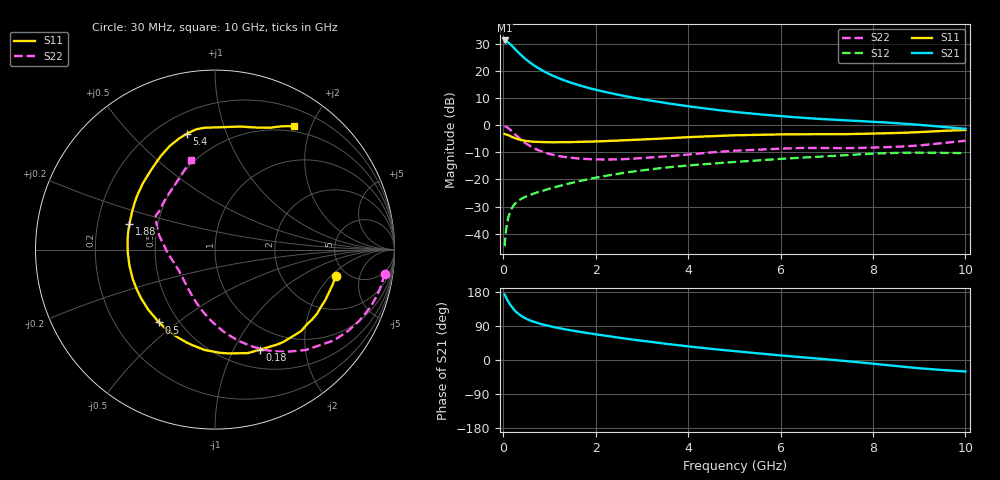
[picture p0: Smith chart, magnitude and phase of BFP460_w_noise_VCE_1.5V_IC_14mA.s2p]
! (c) 2016  Infineon Technologies AG, Munich
! Infineon Technologies  Discrete & RF Semiconductors
! BFP460
! VCE =  1.5 V,  IC =  14 mA
! Common Emitter S-Parameters:  Jan 2016
# GHz  S  MA  R  50
!  f  S11  S21  S12  S22
! GHz  MAG  ANG  MAG  ANG  MAG  ANG  MAG  ANG
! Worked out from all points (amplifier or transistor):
!   229 points, 30 MHz to 10 GHz, reference 50 ohm
!   highest |S21| = 31.2 dB at 30 MHz (marker M1)
!   |S21| within 3 dB of that: start of sweep to 246.7 MHz
!   unconditionally stable (mu >= 1): 2.074 GHz to 8.953 GHz
!   at 280 MHz: K = 0.34, MSG = 28.1 dB, |S12| = -28.5 dB
!   at 1.78 GHz: K = 0.97, MSG = 17.1 dB, |S12| = -20.1 dB
!   at 10 GHz: K = 0.99, MSG = 4.5 dB, |S12| = -10.3 dB
!   lowest NFmin = 1.09 dB at 450 MHz
!   S11 on the Smith chart (normalised r, x): 30 MHz: 4.10, -2.26; 180 MHz: 0.72, -1.28; 500 MHz: 0.39, -0.43; 1.88 GHz: 0.34, +0.13; 5.4 GHz: 0.32, +0.73; 10 GHz: 0.43, +1.75
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0.03  0.6875 -12.2  36.42 172.9  0.0059 85.9  0.9541 -8.1
0.05  0.679 -19.8  35.79 167.2  0.0096 81.0  0.9438 -13.6
0.07  0.671 -28.5  35.38 162.5  0.0132 77.3  0.9276 -18.9
0.11  0.6609 -43.1  33.44 154.1  0.0199 71.2  0.8819 -29.0
0.15  0.632 -56.9  31.19 146.0  0.0254 65.8  0.8266 -38.1
0.18  0.6109 -65.9  29.42 141.2  0.0287 62.4  0.7804 -43.8
0.2  0.6055 -72.1  28.36 137.6  0.031 60.5  0.7542 -47.9
0.24  0.5838 -82.4  26.13 132.0  0.0346 57.1  0.6984 -54.5
0.32  0.553 -99.8  22.24 122.8  0.0402 52.6  0.6027 -65.9
0.4  0.5301 -113.9  19.09 115.5  0.0445 49.8  0.5264 -75.4
0.5  0.5118 -127.5  16.07 108.8  0.0488 48.2  0.4551 -84.6
0.7  0.4928 -146.8  12.06 99.1  0.0564 47.5  0.3643 -98.8
0.9  0.4869 -160.1  9.612 92.2  0.0638 48.1  0.3126 -109.5
1.3  0.4864 -178.4  6.801 81.9  0.0792 49.2  0.2619 -125.4
1.7  0.494 168.2  5.261 73.5  0.0954 49.1  0.2409 -137.2
1.88  0.4981 163.1  4.777 70.1  0.1028 48.7  0.2363 -141.8
3.4  0.5649 129.9  2.652 44.7  0.1615 39.8  0.2615 -174.9
5.1  0.6543 106.7  1.722 22.2  0.2129 28.4  0.3412 160.3
5.4  0.6637 103.8  1.627 18.9  0.2222 26.4  0.3499 157.7
6.8  0.6802 91.8  1.314 3.9  0.2617 16.9  0.3794 148.9
8.4  0.7129 72.8  1.104 -14.7  0.3077 3.0  0.3966 133.1
10  0.8161 57.3  0.857 -30.2  0.3058 -9.3  0.5165 104.7
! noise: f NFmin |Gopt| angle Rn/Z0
0.45  1.09  0.04  41  0.14
1.9  1.24  0.11  -165  0.12
3.5  1.23  0.36  -131  0.13
